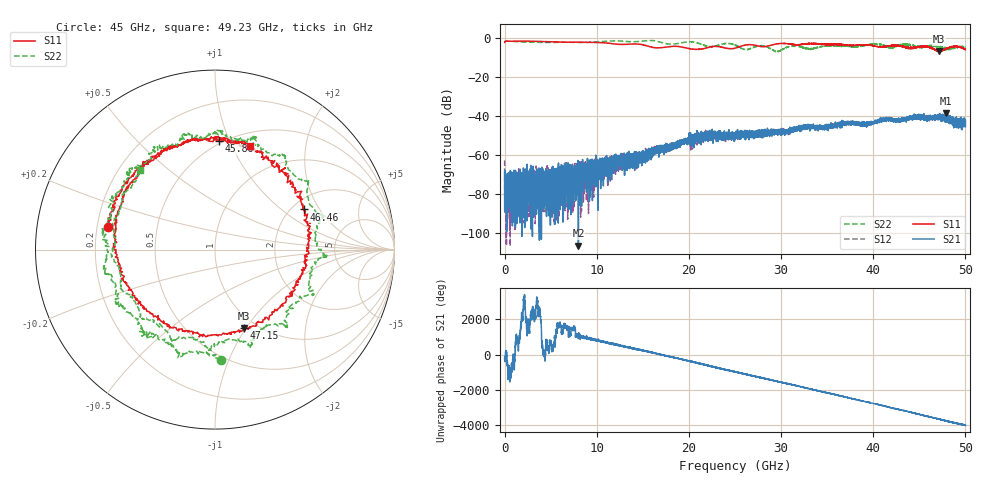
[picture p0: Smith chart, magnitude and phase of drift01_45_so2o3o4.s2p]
!Created with skrf (http://scikit-rf.org).
# Hz S RI R 50.0
!freq ReS11 ImS11 ReS21 ImS21 ReS12 ImS12 ReS22 ImS22
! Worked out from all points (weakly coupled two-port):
!   10001 points, 300 kHz to 50 GHz, reference 50 ohm
!   highest |S21| = -38.60 dB at 47.9 GHz (marker M1); lowest = -106.6 dB at 8.005 GHz (marker M2)
!   lowest |S11| = -6.6 dB at 47.15 GHz (marker M3), VSWR 2.74, Z = 43.7 - j48.8 ohm
!   |S11| at or under -10 dB: nowhere
!   |S22| runs from -6.9 to -1.1 dB; largest |S21 - S12| = 0.0032
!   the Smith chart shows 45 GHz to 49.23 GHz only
!   S11 on the Smith chart (normalised r, x): 45 GHz: 0.24, +0.10; 45.86 GHz: 0.48, +0.92; 46.46 GHz: 2.30, +1.46; 47.15 GHz: 0.87, -0.98; 49.23 GHz: 0.64, +1.18
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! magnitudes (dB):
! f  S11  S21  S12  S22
! 300 kHz  -2.1  -69.3  -62.7  -1.3
! 255.3 MHz  -1.4  -72.9  -74.4  -1.4
! 680.3 MHz  -1.5  -82.7  -78.8  -1.4
! 4.875 GHz  -1.6  -77.6  -71.5  -2.1
! 6.92 GHz  -2.0  -80.3  -70.6  -1.9
! 8.005 GHz  -1.9  -106.6  -78.3  -2.1
! 8.335 GHz  -1.9  -64.6  -72.5  -2.1
! 16.67 GHz  -4.9  -55.3  -56.7  -1.6
! 22.33 GHz  -4.4  -48.8  -49.5  -4.2
! 25 GHz  -5.0  -49.7  -49.8  -3.4
! 28.09 GHz  -4.3  -47.2  -48.8  -3.8
! 29.51 GHz  -2.8  -48.4  -47.7  -6.7
! 31.27 GHz  -3.0  -47.2  -46.8  -4.0
! 33.34 GHz  -2.6  -45.4  -45.9  -5.3
! 41.67 GHz  -3.9  -41.2  -41.8  -4.6
! 45 GHz  -4.3  -39.8  -40.7  -4.2
! 45.86 GHz  -4.4  -40.7  -40.8  -4.3
! 46.46 GHz  -5.3  -40.6  -40.8  -3.7
! 47.15 GHz  -6.6  -41.3  -40.4  -4.0
! 47.9 GHz  -5.4  -38.6  -41.1  -5.8
! 49.23 GHz  -4.3  -44.6  -42.6  -4.3
! 50 GHz  -5.6  -45.5  -43.2  -4.3
